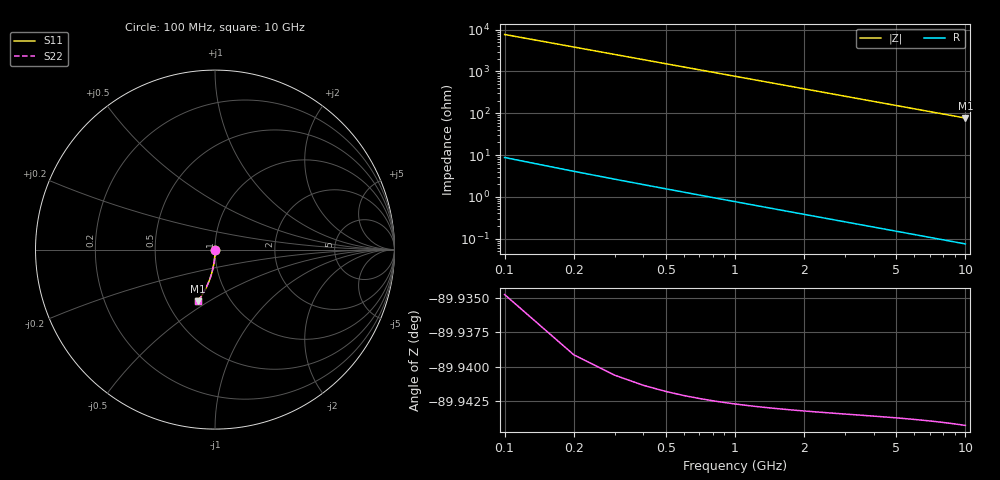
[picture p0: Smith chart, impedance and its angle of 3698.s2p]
# Hz S RI R 50.00
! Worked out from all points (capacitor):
!   100 points, 100 MHz to 10 GHz, reference 50 ohm
!   read as one part in shunt: C = 207 fF near 100 MHz
!   lowest |Z| = 76.8 ohm at 10 GHz (marker M1)
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1e8  4.02e-05 -0.0032  0.9999 -0.00332  0.9999 -0.00332  4.02e-05 -0.0032
2e8  5.49e-06 -0.0064  0.9999 -0.00664  0.9999 -0.00664  5.49e-06 -0.0064
3e8  -5.05e-05 -0.00959  0.9998 -0.00995  0.9998 -0.00995  -5.05e-05 -0.00959
4e8  -0.000128 -0.0128  0.9998 -0.0133  0.9998 -0.0133  -0.000128 -0.0128
5e8  -0.000226 -0.016  0.9997 -0.0166  0.9997 -0.0166  -0.000226 -0.016
6e8  -0.000346 -0.0192  0.9995 -0.0199  0.9995 -0.0199  -0.000346 -0.0192
7e8  -0.000487 -0.0224  0.9994 -0.0232  0.9994 -0.0232  -0.000487 -0.0224
8e8  -0.000649 -0.0256  0.9992 -0.0265  0.9992 -0.0265  -0.000649 -0.0256
9e8  -0.000832 -0.0288  0.9991 -0.0298  0.9991 -0.0298  -0.000832 -0.0288
1.1e9  -0.00126 -0.0351  0.9986 -0.0365  0.9986 -0.0365  -0.00126 -0.0351
1.4e9  -0.00206 -0.0447  0.9978 -0.0464  0.9978 -0.0464  -0.00206 -0.0447
1.8e9  -0.00343 -0.0574  0.9965 -0.0595  0.9965 -0.0595  -0.00343 -0.0574
2.1e9  -0.00467 -0.0668  0.9952 -0.0694  0.9952 -0.0694  -0.00467 -0.0668
2.5e9  -0.00661 -0.0794  0.9933 -0.0824  0.9933 -0.0824  -0.00661 -0.0794
2.9e9  -0.00888 -0.0919  0.991 -0.0954  0.991 -0.0954  -0.00888 -0.0919
3.4e9  -0.0122 -0.1074  0.9877 -0.1115  0.9877 -0.1115  -0.0122 -0.1074
4.2e9  -0.0185 -0.1318  0.9814 -0.1369  0.9814 -0.1369  -0.0185 -0.1318
5.1e9  -0.027 -0.1587  0.9729 -0.1648  0.9729 -0.1648  -0.027 -0.1587
5.9e9  -0.0358 -0.1819  0.9641 -0.189  0.9641 -0.189  -0.0358 -0.1819
6.7e9  -0.0457 -0.2044  0.9542 -0.2124  0.9542 -0.2124  -0.0457 -0.2044
8.4e9  -0.0699 -0.2496  0.9299 -0.2598  0.9299 -0.2598  -0.0699 -0.2496
1e10  -0.0963 -0.2887  0.9035 -0.3007  0.9035 -0.3007  -0.0963 -0.2887
